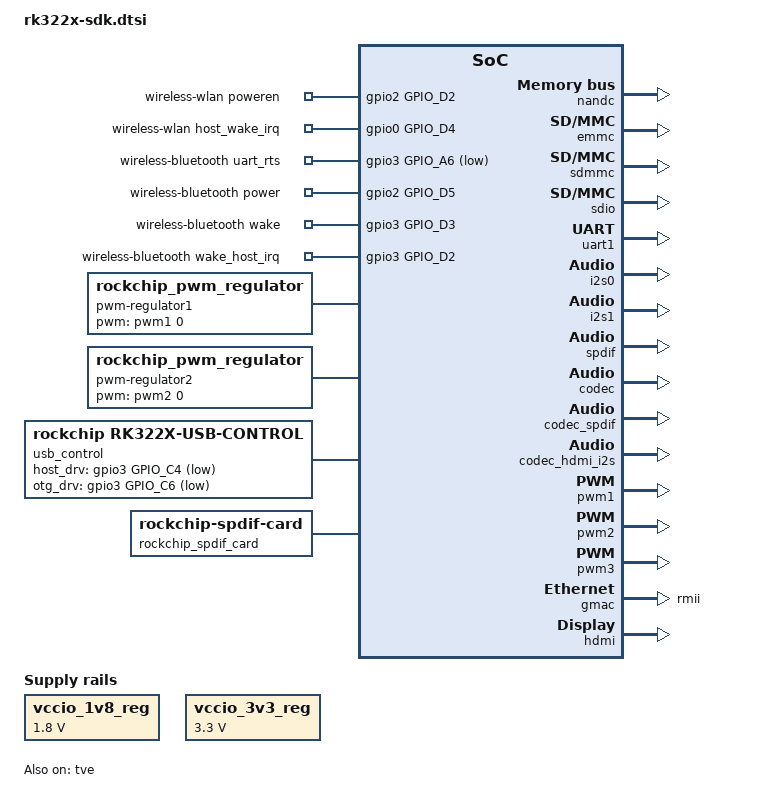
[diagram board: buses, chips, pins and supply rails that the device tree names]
#include "lcd-box.dtsi"
#include <dt-bindings/input/input.h>

/ {
	chosen {
		bootargs = "vmalloc=496M psci=enable rockchip_jtag";
	};

	fiq-debugger {
		status = "okay";
	};
	wireless-wlan {
		compatible = "wlan-platdata";
		/* wifi_chip_type - wifi chip define
		* bcmwifi ==> like ap6xxx, rk90x;
		* rtkwifi ==> like rtl8188xx, rtl8723xx,rtl8812auv;
		* esp8089 ==> esp8089;
		* other   ==> for other wifi;
		*/
		wifi_chip_type = "ap6335";
		sdio_vref = <1800>;
		/* keep_wifi_power_on; */
		/* power_ctrl_by_pmu; */
		/* power_pmu_regulator = "act_ldo3"; */
		/* power_pmu_enable_level = <1>; */
		/* vref_ctrl_enable; */
		/* vref_ctrl_gpio = <&gpio0 GPIO_A2 GPIO_ACTIVE_HIGH>; */
		/* vref_pmu_regulator = "act_ldo3"; */
		/* vref_pmu_enable_level = <1>; */
		WIFI,poweren_gpio = <&gpio2 GPIO_D2 GPIO_ACTIVE_HIGH>;
		WIFI,host_wake_irq = <&gpio0 GPIO_D4 GPIO_ACTIVE_HIGH>;
		/* WIFI,reset_gpio = <&gpio0 GPIO_A2 GPIO_ACTIVE_LOW>; */
		status = "okay";
	};

	wireless-bluetooth {
		compatible = "bluetooth-platdata";
		/* wifi-bt-power-toggle; */
		uart_rts_gpios = <&gpio3 GPIO_A6 GPIO_ACTIVE_LOW>;
		pinctrl-names = "default","rts_gpio";
		pinctrl-0 = <&uart11_rts>;
		pinctrl-1 = <&uart11_rts_gpio>;
		BT,power_gpio = <&gpio2 GPIO_D5 GPIO_ACTIVE_HIGH>;
		/* BT,reset_gpio = <&gpio2 GPIO_D5 GPIO_ACTIVE_HIGH>; */
		BT,wake_gpio = <&gpio3 GPIO_D3 GPIO_ACTIVE_HIGH>;
		BT,wake_host_irq = <&gpio3 GPIO_D2 GPIO_ACTIVE_HIGH>;
		status = "okay";
	};
	io-domains {
		status = "okay";

		vccio1-supply = <&vccio_3v3_reg>;
		vccio2-supply = <&vccio_1v8_reg>;
		vccio4-supply = <&vccio_3v3_reg>;
	};

	regulators {
		compatible = "simple-bus";
		#address-cells = <1>;
		#size-cells = <0>;

		vccio_1v8_reg: regulator@0 {
			compatible = "regulator-fixed";
			regulator-name = "vccio_1v8";
			regulator-min-microvolt = <1800000>;
			regulator-max-microvolt = <1800000>;
			regulator-always-on;
		};

		vccio_3v3_reg: regulator@1 {
			compatible = "regulator-fixed";
			regulator-name = "vccio_3v3";
			regulator-min-microvolt = <3300000>;
			regulator-max-microvolt = <3300000>;
			regulator-always-on;
		};
	};

	pwm-regulator1  {
		compatible = "rockchip_pwm_regulator";
		pwms = <&pwm1 0 2000>;
		rockchip,pwm_id= <1>;
		rockchip,pwm_voltage_map= <950000 975000 1000000 1025000 1050000 1075000 1100000 1125000 1150000 1175000 1200000 1225000 1250000 1275000 1300000 1325000 1350000 1375000 1400000>;
		rockchip,pwm_voltage= <1100000>;
		rockchip,pwm_min_voltage= <950000>;
		rockchip,pwm_max_voltage= <1400000>;
		rockchip,pwm_suspend_voltage= <950000>;
		rockchip,pwm_coefficient= <450>;
		status = "okay";
		regulators {
			#address-cells = <1>;
			#size-cells = <0>;
			pwm_reg0: regulator@0 {
				regulator-compatible = "pwm_dcdc1";
				regulator-name= "vdd_arm";
				regulator-min-microvolt = <950000>;
				regulator-max-microvolt = <1400000>;
				regulator-always-on;
				regulator-boot-on;
			};
		};
	};

	pwm-regulator2 {
		compatible = "rockchip_pwm_regulator";
		pwms = <&pwm2 0 25000>;
		rockchip,pwm_id= <2>;
		rockchip,pwm_voltage_map= <1000000 1025000 1050000 1075000 1100000 1125000 1150000 1175000 1200000 1225000 1250000 1275000 1300000>;
		rockchip,pwm_voltage= <1200000>;
		rockchip,pwm_min_voltage= <1000000>;
		rockchip,pwm_max_voltage= <1300000>;
		rockchip,pwm_suspend_voltage= <1250000>;
		rockchip,pwm_coefficient= <300>;
		status = "okay";
		regulators {
			#address-cells = <1>;
			#size-cells = <0>;
			pwm_reg1: regulator@1 {
				regulator-compatible = "pwm_dcdc2";
				regulator-name= "vdd_logic";
				regulator-min-microvolt = <1000000>;
				regulator-max-microvolt = <1300000>;
				regulator-always-on;
				regulator-boot-on;
			};
		};
	};

	usb_control {
		compatible = "rockchip,rk322x-usb-control";
		rockchip,remote_wakeup;
		rockchip,usb_irq_wakeup;
		host_drv_gpio = <&gpio3 GPIO_C4 GPIO_ACTIVE_LOW>;
		otg_drv_gpio = <&gpio3 GPIO_C6 GPIO_ACTIVE_LOW>;
	};

	rockchip_audio {
		compatible = "rockchip,rk322x-audio";
		dais {
			dai0 {
				audio-codec = <&codec>;
				audio-controller = <&i2s1>;
				format = "i2s";
			};
		};
	};

	rockchip_spdif_card {
		compatible = "rockchip-spdif-card";
		dais {
			dai0 {
				audio-codec = <&codec_spdif>;
				audio-controller = <&spdif>;
			};
		};
	};

	rockchip_hdmi_i2s {
		compatible = "rockchip-hdmi-i2s";
		dais {
			dai0 {
				audio-codec = <&codec_hdmi_i2s>;
				audio-controller = <&i2s0>;
				format = "i2s";
			};
		};
	};

	rockchip_nau8540 {
		status = "disabled";
		compatible = "rockchip,nau8540-audio";
		dais {
			dai0 {
				audio-codec = <&nau8540>;
				audio-controller = <&i2s1>;
				format = "i2s";
			};
		};
	};
};

&nandc {
	status = "okay"; //used nand set "okay" ,used emmc set "disabled"
};

&emmc {
	clock-frequency = <125000000>;
	clock-freq-min-max = <400000 125000000>;
	supports-highspeed;
	supports-emmc;
	bootpart-no-access;
	supports-DDR_MODE;
	caps2-mmc-hs200;
	ignore-pm-notify;
	keep-power-in-suspend;
	status = "okay";
};

&sdmmc {
	clock-frequency = <37500000>;
	clock-freq-min-max = <400000 37500000>;
	supports-highspeed;
	supports-sd;
	broken-cd;
	card-detect-delay = <200>;
	ignore-pm-notify;
	keep-power-in-suspend;
	power-inverted;
	status = "okay";
};

&sdio {
	clock-frequency = <37500000>;
	clock-freq-min-max = <200000 37500000>;
	supports-highspeed;
	supports-sdio;
	ignore-pm-notify;
	keep-power-in-suspend;
	cap-sdio-irq;
	status = "okay";
};

&uart1{
	status = "okay";
	dma-names = "!tx", "!rx";
	pinctrl-0 = <&uart11_xfer &uart11_cts>;
};

&i2c1 {
	status = "disabled";
	nau8540: nau8540@1c {
		compatible = "nuvoton,nau8540";
		reg = <0x1c>;
	};

	nau8540_aux: nau8540@1d {
		compatible = "nuvoton,nau8540";
		reg = <0x1d>;
	};
};

&i2s0 {
	status = "okay";
};

&i2s1 {
	status = "okay";
};

&spdif {
	status = "okay";
};

&codec {
	spk_depop_time = <200>;
	status = "okay";
};

&codec_spdif {
	status = "okay";
};

&codec_hdmi_i2s {
	status = "okay";
};

&spi0 {
	status = "disabled";
	max-freq = <48000000>;

	spi_test@00 {
		compatible = "rockchip,spi_test_bus0_cs0";
		reg = <0>;
		spi-max-frequency = <12000000>;
		//spi-cpha;
		//spi-cpol;
		poll_mode = <0>;
		type = <0>;
	};

	spi_test@01 {
		compatible = "rockchip,spi_test_bus0_cs1";
		reg = <1>;
		spi-max-frequency = <12000000>;
		spi-cpha;
		spi-cpol;
		poll_mode = <0>;
		type = <0>;
	};
};

&pwm1 {
	status = "okay";
};

&pwm2 {
	status = "okay";
};

/*
 * Due to not have the software of PWM for remotectrl.
 * We can _*HACK*_ do that as the following.
 */
&pwm3 {
	compatible = "rockchip,remotectl-pwm";
	remote_pwm_id = <3>;
	handle_cpu_id = <1>;
	status = "okay";

	ir_key1{
		rockchip,usercode = <0x4040>;
		rockchip,key_table =
			<0xf2	KEY_REPLY>,
			<0xba	KEY_BACK>,
			<0xf4	KEY_UP>,
			<0xf1	KEY_DOWN>,
			<0xef	KEY_LEFT>,
			<0xee	KEY_RIGHT>,
			<0xbd	KEY_HOME>,
			<0xea	KEY_VOLUMEUP>,
			<0xe3	KEY_VOLUMEDOWN>,
			<0xe2	KEY_SEARCH>,
			<0xb2	KEY_POWER>,
			<0xbc	KEY_MUTE>,
			<0xec	KEY_MENU>,
			<0xbf	0x190>,
			<0xe0	0x191>,
			<0xe1	0x192>,
			<0xe9	183>,
			<0xe6	248>,
			<0xe8	185>,
			<0xe7	186>,
			<0xf0	388>,
			<0xbe	0x175>;
	};
	ir_key2{
		rockchip,usercode = <0xff00>;
		rockchip,key_table =
			<0xf9	KEY_HOME>,
			<0xbf	KEY_BACK>,
			<0xfb	KEY_MENU>,
			<0xaa	KEY_REPLY>,
			<0xb9	KEY_UP>,
			<0xe9	KEY_DOWN>,
			<0xb8	KEY_LEFT>,
			<0xea	KEY_RIGHT>,
			<0xeb	KEY_VOLUMEDOWN>,
			<0xef	KEY_VOLUMEUP>,
			<0xf7	KEY_MUTE>,
			<0xe7	KEY_POWER>,
			<0xfc	KEY_POWER>,
			<0xa9	KEY_VOLUMEDOWN>,
			<0xa8	KEY_VOLUMEDOWN>,
			<0xe0	KEY_VOLUMEDOWN>,
			<0xa5	KEY_VOLUMEDOWN>,
			<0xab	183>,
			<0xb7	388>,
			<0xf8	184>,
			<0xaf	185>,
			<0xed	KEY_VOLUMEDOWN>,
			<0xee	186>,
			<0xb3	KEY_VOLUMEDOWN>,
			<0xf1	KEY_VOLUMEDOWN>,
			<0xf2	KEY_VOLUMEDOWN>,
			<0xf3	KEY_SEARCH>,
			<0xb4	KEY_VOLUMEDOWN>,
			<0xbe	KEY_SEARCH>;
	};
	ir_key3{
		rockchip,usercode = <0x1dcc>;
		rockchip,key_table =
			<0xee	KEY_REPLY>,
			<0xf0	KEY_BACK>,
			<0xf8	KEY_UP>,
			<0xbb	KEY_DOWN>,
			<0xef	KEY_LEFT>,
			<0xed	KEY_RIGHT>,
			<0xfc	KEY_HOME>,
			<0xf1	KEY_VOLUMEUP>,
			<0xfd	KEY_VOLUMEDOWN>,
			<0xb7	KEY_SEARCH>,
			<0xff	KEY_POWER>,
			<0xf3	KEY_MUTE>,
			<0xbf	KEY_MENU>,
			<0xf9	0x191>,
			<0xf5	0x192>,
			<0xb3	388>,
			<0xbe	KEY_1>,
			<0xba	KEY_2>,
			<0xb2	KEY_3>,
			<0xbd	KEY_4>,
			<0xf9	KEY_5>,
			<0xb1	KEY_6>,
			<0xfc	KEY_7>,
			<0xf8	KEY_8>,
			<0xb0	KEY_9>,
			<0xb6	KEY_0>,
			<0xb5	KEY_BACKSPACE>;
	};
};

&gmac_clkin {
        clock-frequency = <125000000>;
};

&gmac {
	/* pmu_regulator = "act_ldo5"; */
	/* power-gpio = <&gpio0 GPIO_A6 GPIO_ACTIVE_HIGH>; */
	/* reset-gpio = <&gpio2 GPIO_D0 GPIO_ACTIVE_LOW>; */
	/* phyirq-gpio = <&gpio0 GPIO_B1 GPIO_ACTIVE_LOW>; */
	/* control link LED */
	link-gpio = <&gpio2 GPIO_B6 GPIO_ACTIVE_HIGH>;
	led-gpio = <&gpio2 GPIO_B0 GPIO_ACTIVE_HIGH>;
	phy-mode = "rmii";
	pinctrl-names = "default";
	/* rmii_pins, rgmii_pins, phy_pins */
	pinctrl-0 = <&phy_pins>;
	clock_in_out = "output";
	tx_delay = <0x30>;
	rx_delay = <0x10>;
	/* internal or external */
	phy-type = "internal";
};

&disp_timings {
	native-mode = <&timing0>;
};

&rk_screen {
	display-timings = <&disp_timings>;
};

&fb {
	rockchip,disp-policy = <DISPLAY_POLICY_BOX>;
	rockchip,uboot-logo-on = <1>;
};

&hdmi {
	status = "okay";
	rockchip,phy_table =
		<165000000 0 0 4 4 4 4>,
		<225000000 0 0 6 6 6 6>,
		<340000000 1 0 6 10 10 10>,
		<594000000 1 0 7 10 10 10>;
};

&tve {
	status = "okay";
};

&watchdog {
	status = "disabled";
};

&clk_core_dvfs_table {
	operating-points = <
		/* KHz    uV */
		408000 950000
		600000 975000
		816000 1000000
		1008000 1175000
		1200000 1275000
//		1296000 1325000
//		1392000 1350000
		>;
	status = "okay";
};

&clk_gpu_dvfs_table {
	operating-points = <
		/* KHz    uV */
		200000 1050000
		300000 1050000
		500000 1150000
		>;
	status = "okay";
};

&clk_ddr_dvfs_table {
	operating-points = <
		/* KHz    uV */
		300000 1000000
		800000 1150000
		>;
	status = "okay";
};

&rockchip_suspend {
	rockchip,ctrbits = <
		(0
		 |RKPM_CTR_GTCLKS
		 |RKPM_CTR_PLLS
		 |RKPM_CTR_IDLESRAM_MD
		 |RKPM_CTR_VOL_PWM1
		 |RKPM_CTR_VOL_PWM2
		)
	>;
};
